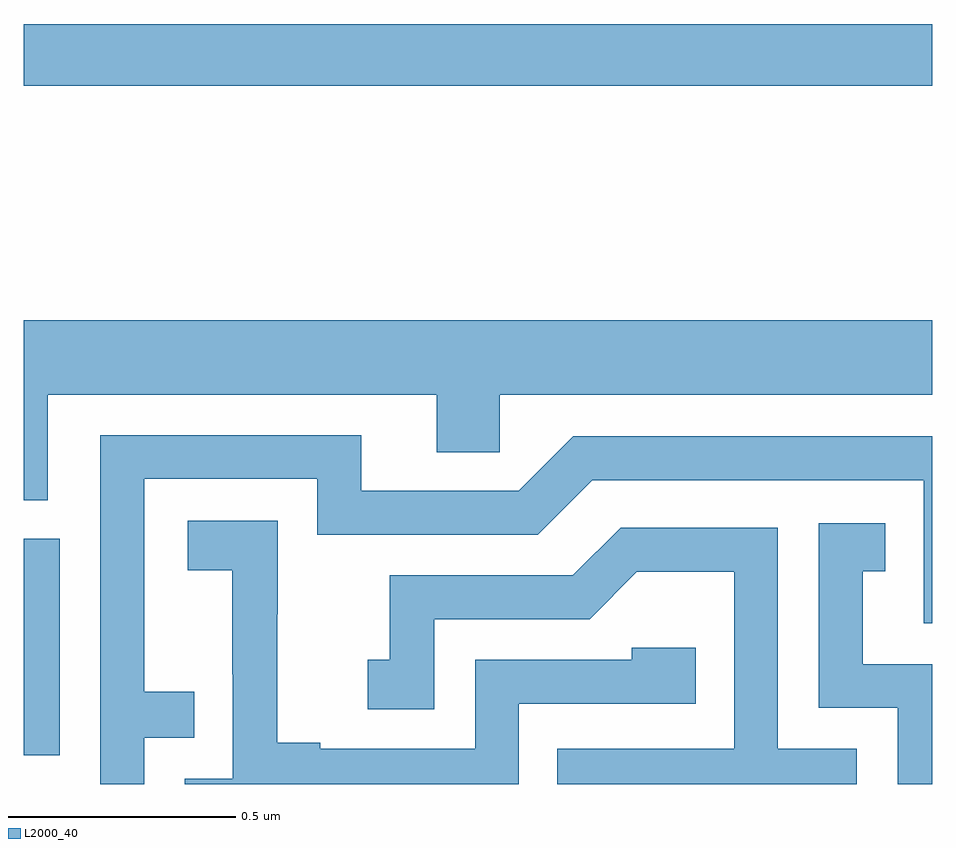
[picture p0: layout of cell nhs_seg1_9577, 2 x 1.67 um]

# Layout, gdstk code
import gdstk
lib = gdstk.Library(unit=1e-6, precision=1e-09)
def R(c, l, rs):  # rectangles x0, y0, x1, y1
    for r in rs: c.add(gdstk.rectangle(r[:2], r[2:], *l))
def P(c, l, *ps):  # polygons
    for p in ps: c.add(gdstk.Polygon(p, *l))
L2000_40 = (2000, 40)

nhs_seg1_9577 = lib.new_cell('nhs_seg1_9577')
R(nhs_seg1_9577, L2000_40, [(230,560.262,230.079,560.739), (230,561.736,232,561.872)])
P(nhs_seg1_9577, L2000_40, [(230.053,561.056),(230.909,561.056),(230.909,560.929),(231.048,560.929),(231.048,561.056),(232,561.056),(232,561.22),(230,561.22),(230,560.824),(230.053,560.824)],
  [(230.265,560.301),(230.375,560.301),(230.375,560.402),(230.265,560.402),(230.265,560.871),(230.646,560.871),(230.646,560.748),(231.132,560.748),(231.252,560.868),(231.981,560.868),(231.981,560.553),(232,560.553),(232,560.964),(231.21,560.964),(231.09,560.844),(230.743,560.844),(230.743,560.967),(230.169,560.967),(230.169,560.199),(230.265,560.199)],
  [(231.09,560.376),(231.479,560.376),(231.479,560.499),(231.339,560.499),(231.339,560.472),(230.994,560.472),(230.994,560.277),(230.653,560.277),(230.653,560.29),(230.558,560.29),(230.558,560.573),(230.559,560.573),(230.559,560.779),(230.361,560.779),(230.361,560.669),(230.459,560.669),(230.459,560.441),(230.46,560.441),(230.46,560.211),(230.355,560.211),(230.355,560.199),(231.09,560.199)],
  [(232,560.463),(231.847,560.463),(231.847,560.667),(231.896,560.667),(231.896,560.773),(231.75,560.773),(231.75,560.367),(231.924,560.367),(231.924,560.199),(232,560.199)],
  [(231.834,560.277),(231.66,560.277),(231.66,560.763),(231.314,560.763),(231.209,560.658),(230.806,560.658),(230.806,560.473),(230.757,560.473),(230.757,560.364),(230.904,560.364),(230.904,560.562),(231.246,560.562),(231.35,560.666),(231.564,560.666),(231.564,560.277),(231.175,560.277),(231.175,560.199),(231.834,560.199)])

lib.write_gds('nhs_seg1_9577.gds')
